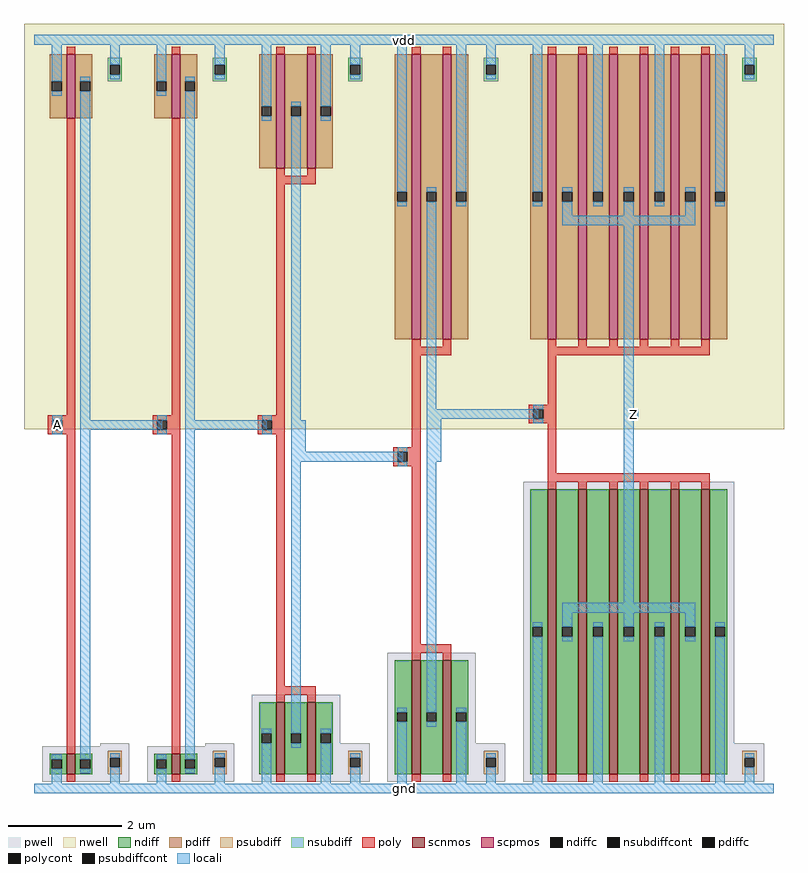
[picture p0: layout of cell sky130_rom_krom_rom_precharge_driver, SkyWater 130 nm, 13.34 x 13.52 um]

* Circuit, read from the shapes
.subckt sky130_rom_krom_rom_precharge_driver Z A gnd vdd
XM1 sky130_rom_krom_pinv_0/A A gnd gnd sky130_fd_pr__nfet_01v8 w=0.36 l=0.15
XM2 sky130_rom_krom_pinv_3_0/A sky130_rom_krom_pinv_0/A gnd gnd sky130_fd_pr__nfet_01v8 w=0.36 l=0.15
XM3 sky130_rom_krom_pinv_4_0/A sky130_rom_krom_pinv_3_0/A gnd gnd sky130_fd_pr__nfet_01v8 w=1.26 l=0.15 m=2
XM4 sky130_rom_krom_pinv_5_0/A sky130_rom_krom_pinv_4_0/A gnd gnd sky130_fd_pr__nfet_01v8 w=2 l=0.15 m=2
XM5 Z sky130_rom_krom_pinv_5_0/A gnd gnd sky130_fd_pr__nfet_01v8 w=5 l=0.15 m=6
XM6 sky130_rom_krom_pinv_0/A A vdd vdd sky130_fd_pr__pfet_01v8 w=1.12 l=0.15
XM7 sky130_rom_krom_pinv_3_0/A sky130_rom_krom_pinv_0/A vdd vdd sky130_fd_pr__pfet_01v8 w=1.12 l=0.15
XM8 sky130_rom_krom_pinv_4_0/A sky130_rom_krom_pinv_3_0/A vdd vdd sky130_fd_pr__pfet_01v8 w=2 l=0.15 m=2
XM9 sky130_rom_krom_pinv_5_0/A sky130_rom_krom_pinv_4_0/A vdd vdd sky130_fd_pr__pfet_01v8 w=5 l=0.15 m=2
XM10 Z sky130_rom_krom_pinv_5_0/A vdd vdd sky130_fd_pr__pfet_01v8 w=5 l=0.15 m=6
.ends

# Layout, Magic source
magic
tech sky130A
magscale 1 2
<< nwell >>
rect -36 1261 2632 2686
<< locali >>
rect 0 2611 2596 2645
rect 64 1244 98 1310
rect 1395 1298 1769 1332
rect 2087 1298 2121 1332
rect 196 1260 449 1294
rect 564 1260 817 1294
rect 919 1182 953 1277
rect 919 1148 1293 1182
rect 1395 1165 1429 1298
rect 0 -17 2596 17
use sky130_rom_krom_pinv  sky130_rom_krom_pinv_0
transform 1 0 368 0 1 0
box -36 -17 404 2686
use sky130_rom_krom_pinv  sky130_rom_krom_pinv_1
transform 1 0 0 0 1 0
box -36 -17 404 2686
use sky130_rom_krom_pinv_3  sky130_rom_krom_pinv_3_0
transform 1 0 736 0 1 0
box -36 -17 512 2686
use sky130_rom_krom_pinv_4  sky130_rom_krom_pinv_4_0
transform 1 0 1212 0 1 0
box -36 -17 512 2686
use sky130_rom_krom_pinv_5  sky130_rom_krom_pinv_5_0
transform 1 0 1688 0 1 0
box -36 -17 944 2686
<< labels >>
rlabel locali s 2104 1315 2104 1315 4 Z
port 1 nsew
rlabel locali s 81 1277 81 1277 4 A
port 2 nsew
rlabel locali s 1298 0 1298 0 4 gnd
port 3 nsew
rlabel locali s 1298 2628 1298 2628 4 vdd
port 4 nsew
<< properties >>
string FIXED_BBOX 0 0 2596 2628
<< end >>

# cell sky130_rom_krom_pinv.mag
magic
tech sky130A
magscale 1 2
<< nwell >>
rect -36 1262 404 2686
<< pwell >>
rect 232 149 334 159
rect 28 25 334 149
<< scnmos >>
rect 114 51 144 123
<< scpmos >>
rect 114 2354 144 2578
<< ndiff >>
rect 54 104 114 123
rect 54 70 62 104
rect 96 70 114 104
rect 54 51 114 70
rect 144 104 204 123
rect 144 70 162 104
rect 196 70 204 104
rect 144 51 204 70
<< pdiff >>
rect 54 2483 114 2578
rect 54 2449 62 2483
rect 96 2449 114 2483
rect 54 2354 114 2449
rect 144 2483 204 2578
rect 144 2449 162 2483
rect 196 2449 204 2483
rect 144 2354 204 2449
<< ndiffc >>
rect 62 70 96 104
rect 162 70 196 104
<< pdiffc >>
rect 62 2449 96 2483
rect 162 2449 196 2483
<< psubdiff >>
rect 258 109 308 133
rect 258 75 266 109
rect 300 75 308 109
rect 258 51 308 75
<< nsubdiff >>
rect 258 2541 308 2565
rect 258 2507 266 2541
rect 300 2507 308 2541
rect 258 2483 308 2507
<< psubdiffcont >>
rect 266 75 300 109
<< nsubdiffcont >>
rect 266 2507 300 2541
<< poly >>
rect 114 2578 144 2604
rect 114 1310 144 2354
rect 48 1294 144 1310
rect 48 1260 64 1294
rect 98 1260 144 1294
rect 48 1244 144 1260
rect 114 123 144 1244
rect 114 25 144 51
<< polycont >>
rect 64 1260 98 1294
<< locali >>
rect 0 2612 368 2646
rect 62 2483 96 2612
rect 266 2541 300 2612
rect 62 2433 96 2449
rect 162 2483 196 2499
rect 266 2491 300 2507
rect 64 1294 98 1310
rect 64 1244 98 1260
rect 162 1294 196 2449
rect 162 1260 213 1294
rect 62 104 96 120
rect 62 17 96 70
rect 162 104 196 1260
rect 162 54 196 70
rect 266 109 300 125
rect 266 17 300 75
rect 0 -17 368 17
<< labels >>
rlabel locali s 81 1277 81 1277 4 A
port 1 nsew
rlabel locali s 196 1277 196 1277 4 Z
port 2 nsew
rlabel locali s 184 0 184 0 4 gnd
port 3 nsew
rlabel locali s 184 2629 184 2629 4 vdd
port 4 nsew
<< properties >>
string FIXED_BBOX 0 0 368 2382
<< end >>

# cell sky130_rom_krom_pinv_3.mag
magic
tech sky130A
magscale 1 2
<< nwell >>
rect -36 1262 512 2686
<< pwell >>
rect 28 159 338 329
rect 28 25 442 159
<< scnmos >>
rect 114 51 144 303
rect 222 51 252 303
<< scpmos >>
rect 114 2178 144 2578
rect 222 2178 252 2578
<< ndiff >>
rect 54 194 114 303
rect 54 160 62 194
rect 96 160 114 194
rect 54 51 114 160
rect 144 194 222 303
rect 144 160 166 194
rect 200 160 222 194
rect 144 51 222 160
rect 252 194 312 303
rect 252 160 270 194
rect 304 160 312 194
rect 252 51 312 160
<< pdiff >>
rect 54 2395 114 2578
rect 54 2361 62 2395
rect 96 2361 114 2395
rect 54 2178 114 2361
rect 144 2395 222 2578
rect 144 2361 166 2395
rect 200 2361 222 2395
rect 144 2178 222 2361
rect 252 2395 312 2578
rect 252 2361 270 2395
rect 304 2361 312 2395
rect 252 2178 312 2361
<< ndiffc >>
rect 62 160 96 194
rect 166 160 200 194
rect 270 160 304 194
<< pdiffc >>
rect 62 2361 96 2395
rect 166 2361 200 2395
rect 270 2361 304 2395
<< psubdiff >>
rect 366 109 416 133
rect 366 75 374 109
rect 408 75 416 109
rect 366 51 416 75
<< nsubdiff >>
rect 366 2541 416 2565
rect 366 2507 374 2541
rect 408 2507 416 2541
rect 366 2483 416 2507
<< psubdiffcont >>
rect 374 75 408 109
<< nsubdiffcont >>
rect 374 2507 408 2541
<< poly >>
rect 114 2578 144 2604
rect 222 2578 252 2604
rect 114 2152 144 2178
rect 222 2152 252 2178
rect 114 2122 252 2152
rect 114 1310 144 2122
rect 48 1294 144 1310
rect 48 1260 64 1294
rect 98 1260 144 1294
rect 48 1244 144 1260
rect 114 359 144 1244
rect 114 329 252 359
rect 114 303 144 329
rect 222 303 252 329
rect 114 25 144 51
rect 222 25 252 51
<< polycont >>
rect 64 1260 98 1294
<< locali >>
rect 0 2612 476 2646
rect 62 2395 96 2612
rect 62 2345 96 2361
rect 166 2395 200 2411
rect 64 1294 98 1310
rect 64 1244 98 1260
rect 166 1294 200 2361
rect 270 2395 304 2612
rect 374 2541 408 2612
rect 374 2491 408 2507
rect 270 2345 304 2361
rect 166 1260 217 1294
rect 62 194 96 210
rect 62 17 96 160
rect 166 194 200 1260
rect 166 144 200 160
rect 270 194 304 210
rect 270 17 304 160
rect 374 109 408 125
rect 374 17 408 75
rect 0 -17 476 17
<< labels >>
rlabel locali s 81 1277 81 1277 4 A
port 1 nsew
rlabel locali s 200 1277 200 1277 4 Z
port 2 nsew
rlabel locali s 238 0 238 0 4 gnd
port 3 nsew
rlabel locali s 238 2629 238 2629 4 vdd
port 4 nsew
<< properties >>
string FIXED_BBOX 0 0 476 2294
<< end >>

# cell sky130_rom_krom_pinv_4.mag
magic
tech sky130A
magscale 1 2
<< nwell >>
rect -36 1262 512 2686
<< pwell >>
rect 28 159 338 477
rect 28 25 442 159
<< scnmos >>
rect 114 51 144 451
rect 222 51 252 451
<< scpmos >>
rect 114 1578 144 2578
rect 222 1578 252 2578
<< ndiff >>
rect 54 268 114 451
rect 54 234 62 268
rect 96 234 114 268
rect 54 51 114 234
rect 144 268 222 451
rect 144 234 166 268
rect 200 234 222 268
rect 144 51 222 234
rect 252 268 312 451
rect 252 234 270 268
rect 304 234 312 268
rect 252 51 312 234
<< pdiff >>
rect 54 2095 114 2578
rect 54 2061 62 2095
rect 96 2061 114 2095
rect 54 1578 114 2061
rect 144 2095 222 2578
rect 144 2061 166 2095
rect 200 2061 222 2095
rect 144 1578 222 2061
rect 252 2095 312 2578
rect 252 2061 270 2095
rect 304 2061 312 2095
rect 252 1578 312 2061
<< ndiffc >>
rect 62 234 96 268
rect 166 234 200 268
rect 270 234 304 268
<< pdiffc >>
rect 62 2061 96 2095
rect 166 2061 200 2095
rect 270 2061 304 2095
<< psubdiff >>
rect 366 109 416 133
rect 366 75 374 109
rect 408 75 416 109
rect 366 51 416 75
<< nsubdiff >>
rect 366 2541 416 2565
rect 366 2507 374 2541
rect 408 2507 416 2541
rect 366 2483 416 2507
<< psubdiffcont >>
rect 374 75 408 109
<< nsubdiffcont >>
rect 374 2507 408 2541
<< poly >>
rect 114 2578 144 2604
rect 222 2578 252 2604
rect 114 1552 144 1578
rect 222 1552 252 1578
rect 114 1522 252 1552
rect 114 1198 144 1522
rect 48 1182 144 1198
rect 48 1148 64 1182
rect 98 1148 144 1182
rect 48 1132 144 1148
rect 114 507 144 1132
rect 114 477 252 507
rect 114 451 144 477
rect 222 451 252 477
rect 114 25 144 51
rect 222 25 252 51
<< polycont >>
rect 64 1148 98 1182
<< locali >>
rect 0 2612 476 2646
rect 62 2095 96 2612
rect 62 2045 96 2061
rect 166 2095 200 2111
rect 64 1182 98 1198
rect 64 1132 98 1148
rect 166 1182 200 2061
rect 270 2095 304 2612
rect 374 2541 408 2612
rect 374 2491 408 2507
rect 270 2045 304 2061
rect 166 1148 217 1182
rect 62 268 96 284
rect 62 17 96 234
rect 166 268 200 1148
rect 166 218 200 234
rect 270 268 304 284
rect 270 17 304 234
rect 374 109 408 125
rect 374 17 408 75
rect 0 -17 476 17
<< labels >>
rlabel locali s 81 1165 81 1165 4 A
port 1 nsew
rlabel locali s 200 1165 200 1165 4 Z
port 2 nsew
rlabel locali s 238 0 238 0 4 gnd
port 3 nsew
rlabel locali s 238 2629 238 2629 4 vdd
port 4 nsew
<< properties >>
string FIXED_BBOX 0 0 476 1994
<< end >>

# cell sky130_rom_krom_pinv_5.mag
magic
tech sky130A
magscale 1 2
<< nwell >>
rect -36 1262 944 2686
<< pwell >>
rect 28 159 770 1077
rect 28 25 874 159
<< scnmos >>
rect 114 51 144 1051
rect 222 51 252 1051
rect 330 51 360 1051
rect 438 51 468 1051
rect 546 51 576 1051
rect 654 51 684 1051
<< scpmos >>
rect 114 1578 144 2578
rect 222 1578 252 2578
rect 330 1578 360 2578
rect 438 1578 468 2578
rect 546 1578 576 2578
rect 654 1578 684 2578
<< ndiff >>
rect 54 568 114 1051
rect 54 534 62 568
rect 96 534 114 568
rect 54 51 114 534
rect 144 568 222 1051
rect 144 534 166 568
rect 200 534 222 568
rect 144 51 222 534
rect 252 568 330 1051
rect 252 534 274 568
rect 308 534 330 568
rect 252 51 330 534
rect 360 568 438 1051
rect 360 534 382 568
rect 416 534 438 568
rect 360 51 438 534
rect 468 568 546 1051
rect 468 534 490 568
rect 524 534 546 568
rect 468 51 546 534
rect 576 568 654 1051
rect 576 534 598 568
rect 632 534 654 568
rect 576 51 654 534
rect 684 568 744 1051
rect 684 534 702 568
rect 736 534 744 568
rect 684 51 744 534
<< pdiff >>
rect 54 2095 114 2578
rect 54 2061 62 2095
rect 96 2061 114 2095
rect 54 1578 114 2061
rect 144 2095 222 2578
rect 144 2061 166 2095
rect 200 2061 222 2095
rect 144 1578 222 2061
rect 252 2095 330 2578
rect 252 2061 274 2095
rect 308 2061 330 2095
rect 252 1578 330 2061
rect 360 2095 438 2578
rect 360 2061 382 2095
rect 416 2061 438 2095
rect 360 1578 438 2061
rect 468 2095 546 2578
rect 468 2061 490 2095
rect 524 2061 546 2095
rect 468 1578 546 2061
rect 576 2095 654 2578
rect 576 2061 598 2095
rect 632 2061 654 2095
rect 576 1578 654 2061
rect 684 2095 744 2578
rect 684 2061 702 2095
rect 736 2061 744 2095
rect 684 1578 744 2061
<< ndiffc >>
rect 62 534 96 568
rect 166 534 200 568
rect 274 534 308 568
rect 382 534 416 568
rect 490 534 524 568
rect 598 534 632 568
rect 702 534 736 568
<< pdiffc >>
rect 62 2061 96 2095
rect 166 2061 200 2095
rect 274 2061 308 2095
rect 382 2061 416 2095
rect 490 2061 524 2095
rect 598 2061 632 2095
rect 702 2061 736 2095
<< psubdiff >>
rect 798 109 848 133
rect 798 75 806 109
rect 840 75 848 109
rect 798 51 848 75
<< nsubdiff >>
rect 798 2541 848 2565
rect 798 2507 806 2541
rect 840 2507 848 2541
rect 798 2483 848 2507
<< psubdiffcont >>
rect 806 75 840 109
<< nsubdiffcont >>
rect 806 2507 840 2541
<< poly >>
rect 114 2578 144 2604
rect 222 2578 252 2604
rect 330 2578 360 2604
rect 438 2578 468 2604
rect 546 2578 576 2604
rect 654 2578 684 2604
rect 114 1552 144 1578
rect 222 1552 252 1578
rect 330 1552 360 1578
rect 438 1552 468 1578
rect 546 1552 576 1578
rect 654 1552 684 1578
rect 114 1522 684 1552
rect 114 1348 144 1522
rect 48 1332 144 1348
rect 48 1298 64 1332
rect 98 1298 144 1332
rect 48 1282 144 1298
rect 114 1107 144 1282
rect 114 1077 684 1107
rect 114 1051 144 1077
rect 222 1051 252 1077
rect 330 1051 360 1077
rect 438 1051 468 1077
rect 546 1051 576 1077
rect 654 1051 684 1077
rect 114 25 144 51
rect 222 25 252 51
rect 330 25 360 51
rect 438 25 468 51
rect 546 25 576 51
rect 654 25 684 51
<< polycont >>
rect 64 1298 98 1332
<< locali >>
rect 0 2612 908 2646
rect 62 2095 96 2612
rect 62 2045 96 2061
rect 166 2095 200 2111
rect 166 2011 200 2061
rect 274 2095 308 2612
rect 274 2045 308 2061
rect 382 2095 416 2111
rect 382 2011 416 2061
rect 490 2095 524 2612
rect 490 2045 524 2061
rect 598 2095 632 2111
rect 598 2011 632 2061
rect 702 2095 736 2612
rect 806 2541 840 2612
rect 806 2491 840 2507
rect 702 2045 736 2061
rect 166 1977 632 2011
rect 64 1332 98 1348
rect 64 1282 98 1298
rect 382 1332 416 1977
rect 382 1298 433 1332
rect 382 652 416 1298
rect 166 618 632 652
rect 62 568 96 584
rect 62 17 96 534
rect 166 568 200 618
rect 166 518 200 534
rect 274 568 308 584
rect 274 17 308 534
rect 382 568 416 618
rect 382 518 416 534
rect 490 568 524 584
rect 490 17 524 534
rect 598 568 632 618
rect 598 518 632 534
rect 702 568 736 584
rect 702 17 736 534
rect 806 109 840 125
rect 806 17 840 75
rect 0 -17 908 17
<< labels >>
rlabel locali s 81 1315 81 1315 4 A
port 1 nsew
rlabel locali s 416 1315 416 1315 4 Z
port 2 nsew
rlabel locali s 454 0 454 0 4 gnd
port 3 nsew
rlabel locali s 454 2629 454 2629 4 vdd
port 4 nsew
<< properties >>
string FIXED_BBOX 0 0 908 1994
<< end >>
